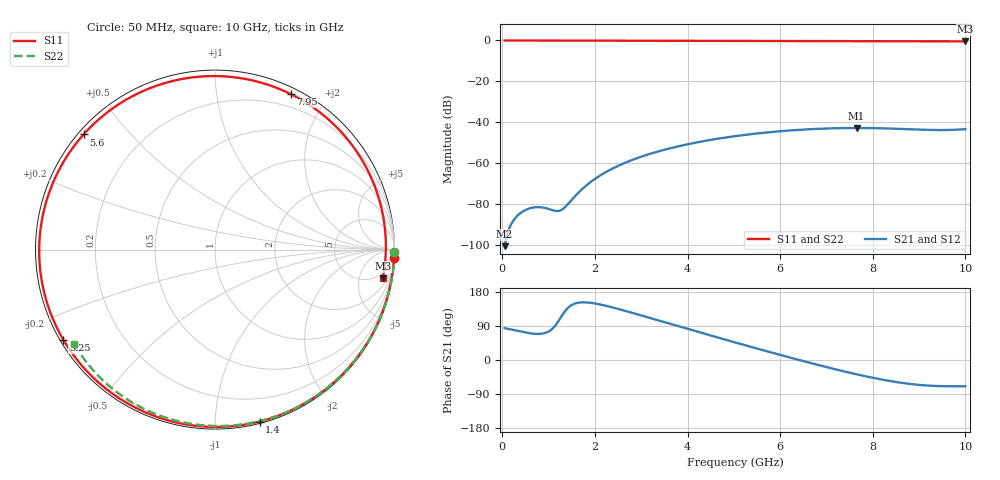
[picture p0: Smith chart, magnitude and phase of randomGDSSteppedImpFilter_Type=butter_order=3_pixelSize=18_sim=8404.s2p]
! freq	dB(S11)	phase(S11)	dB(S12)	phase(S12)
!  dB(S21)	phase(S21)	dB(S22)	phase(S22)
!S-par simulation data
#  GHz  S  DB  R 50
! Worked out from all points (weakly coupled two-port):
!   200 points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, 50 MHz to 10 GHz, reference 50 ohm
!   highest |S21| = -42.88 dB at 7.65 GHz (marker M1); lowest = -100.8 dB at 50 MHz (marker M2)
!   lowest |S11| = -0.5 dB at 10 GHz (marker M3), VSWR 37.73, Z = 171 - j539 ohm
!   |S11| at or under -10 dB: nowhere
!   |S22| runs from -0.5 to 0.0 dB; largest |S21 - S12| = 0
!   S11 on the Smith chart (normalised r, x): 50 MHz: 1, -41; 1.4 GHz: 0.01, -1.29; 3.25 GHz: 0.01, -0.28; 5.6 GHz: 0.02, +0.38; 7.95 GHz: 0.07, +1.60; 10 GHz: 3, -11
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0.05  -0.01 -2.8  -100.76 84.3  -100.76 84.3  -0.00 -0.8
0.4  -0.04 -22.8  -84.41 75.0  -84.41 75.0  -0.01 -6.7
0.75  -0.06 -42.2  -81.65 68.8  -81.65 68.8  -0.02 -12.7
1.05  -0.07 -58.0  -82.89 79.2  -82.89 79.2  -0.02 -17.7
1.4  -0.09 -75.4  -80.60 135.4  -80.60 135.4  -0.03 -23.5
1.75  -0.10 -91.6  -72.28 152.2  -72.28 152.2  -0.04 -29.3
2.05  -0.12 -104.5  -67.05 148.0  -67.05 148.0  -0.04 -34.2
2.4  -0.13 -118.6  -62.52 138.1  -62.52 138.1  -0.05 -39.8
3.25  -0.15 -149.2  -55.13 108.8  -55.13 108.8  -0.07 -53.3
3.4  -0.15 -154.2  -54.16 103.5  -54.16 103.5  -0.07 -55.6
4.2  -0.18 -179.4  -49.94 75.1  -49.94 75.1  -0.10 -67.8
5.05  -0.21 155.1  -46.81 45.6  -46.81 45.6  -0.12 -80.3
5.6  -0.23 138.8  -45.32 26.8  -45.32 26.8  -0.15 -88.1
6.15  -0.26 122.2  -44.19 8.5  -44.19 8.5  -0.17 -95.8
6.7  -0.28 105.2  -43.41 -9.3  -43.41 -9.3  -0.20 -103.2
7.2  -0.29 89.1  -43.00 -24.8  -43.00 -24.8  -0.23 -109.9
7.65  -0.31 74.2  -42.88 -37.8  -42.88 -37.8  -0.26 -115.9
7.95  -0.32 64.0  -42.92 -45.7  -42.92 -45.7  -0.29 -119.8
8.35  -0.34 50.1  -43.13 -55.0  -43.13 -55.0  -0.32 -125.0
9.2  -0.38 19.7  -43.81 -67.6  -43.81 -67.6  -0.40 -135.9
9.6  -0.41 5.0  -43.87 -69.2  -43.87 -69.2  -0.45 -141.0
10  -0.46 -9.6  -43.44 -69.3  -43.44 -69.3  -0.49 -146.1
